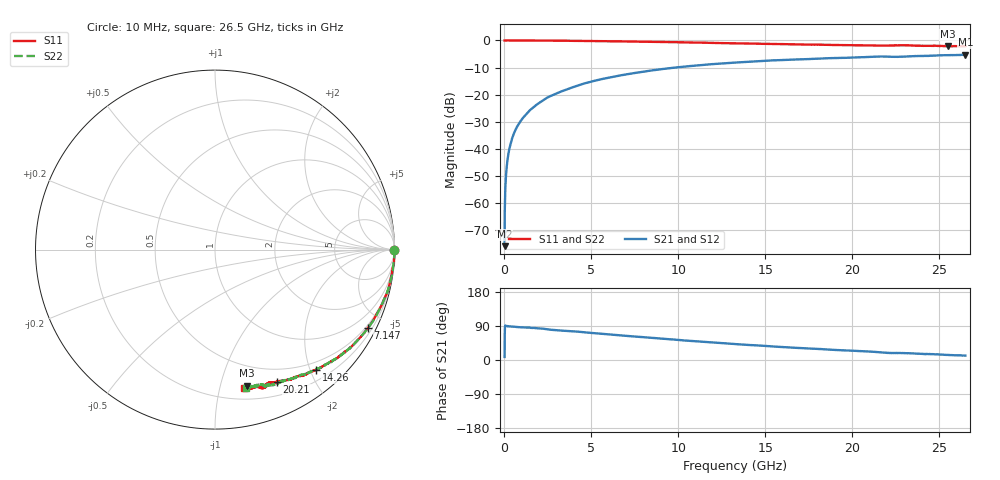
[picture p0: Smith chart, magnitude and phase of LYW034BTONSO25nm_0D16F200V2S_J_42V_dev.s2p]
!Keysight Technologies,N5222B,MY61253708,A.15.00.15
!Date: Wednesday, June 19, 2024 09:01:34
!Correction: S11(C  2-Port  )
!S21(C  2-Port  )
!S12(C  2-Port  )
!S22(C  2-Port  )
!S2P File: Measurements: S11, S21, S12, S22:
# Hz S  RI  R 50
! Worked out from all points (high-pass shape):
!   2651 points, 10 MHz to 26.5 GHz, reference 50 ohm
!   highest |S21| = -5.26 dB at 26.5 GHz (marker M1); lowest = -76.0 dB at 10 MHz (marker M2)
!   |S21| within 3 dB of the highest: 13.00275 GHz to 13.01149 GHz (8.74 MHz wide, 0.0672 % of centre); 13.05 GHz to end of sweep
!   lowest |S11| = -2.2 dB at 25.5 GHz (marker M3), VSWR 8.01, Z = 15.8 - j60.6 ohm
!   |S11| at or under -10 dB: nowhere
!   |S22| runs from -2.1 to 0.0 dB; largest |S21 - S12| = 0.0074
!   S11 on the Smith chart (normalised r, x): 10 MHz: open; 7.147 GHz: 0.40, -4.09; 14.26 GHz: 0.37, -2.09; 20.21 GHz: 0.35, -1.52; 26.5 GHz: 0.29, -1.18
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1e7  0.9989 -0.00207  0.000157 2.22e-05  -1.17e-05 0.000346  0.9984 -0.00103
7.997358e7  0.9998 -0.00582  1.64e-05 0.00277  -1.51e-05 0.00281  0.9994 -0.00537
1.499472e8  0.9998 -0.0114  7.76e-05 0.00528  7.08e-05 0.00531  0.9995 -0.0107
1.799358e8  0.9999 -0.0125  7.86e-05 0.00634  8.22e-05 0.00636  0.9995 -0.012
2.29917e8  0.9994 -0.0168  0.000134 0.00806  0.00012 0.00814  0.9991 -0.0157
3.19883e8  0.9993 -0.0226  0.000268 0.0112  0.000285 0.0113  0.9993 -0.0215
4.49834e8  0.999 -0.0319  0.000513 0.0158  0.000499 0.0159  0.9988 -0.031
6.097736e8  0.9987 -0.0428  0.000896 0.0214  0.000954 0.0216  0.9986 -0.0421
7.897057e8  0.9978 -0.0553  0.00156 0.0275  0.00157 0.0278  0.9973 -0.0543
1.429464e9  0.9893 -0.1008  0.00384 0.0498  0.00393 0.05  0.9923 -0.0971
2.319128e9  0.9798 -0.1574  0.0112 0.0817  0.0114 0.0822  0.9812 -0.1575
3.138819e9  0.9674 -0.2116  0.0228 0.1075  0.023 0.1081  0.9685 -0.2097
4.428332e9  0.9365 -0.2909  0.043 0.1487  0.0433 0.1496  0.9385 -0.2874
7.147306e9  0.8504 -0.4383  0.1089 0.2144  0.1098 0.2153  0.8536 -0.4357
8.846664e9  0.7858 -0.514  0.1576 0.2434  0.1589 0.2441  0.7885 -0.5112
1.3255e10  0.6027 -0.6482  0.2895 0.2617  0.2915 0.2617  0.6081 -0.6461
1.426462e10  0.563 -0.6699  0.3158 0.2568  0.3179 0.2572  0.5679 -0.6659
1.767333e10  0.4271 -0.7194  0.3951 0.2273  0.3983 0.2263  0.4406 -0.717
2.021237e10  0.3451 -0.7361  0.4443 0.1983  0.4457 0.1957  0.3607 -0.7367
2.209166e10  0.2938 -0.7455  0.4748 0.1609  0.4762 0.1589  0.2904 -0.7525
2.550038e10  0.1771 -0.7577  0.5209 0.1216  0.5224 0.1227  0.1998 -0.7636
2.65e10  0.1591 -0.7723  0.5343 0.1107  0.5334 0.108  0.1737 -0.7728
